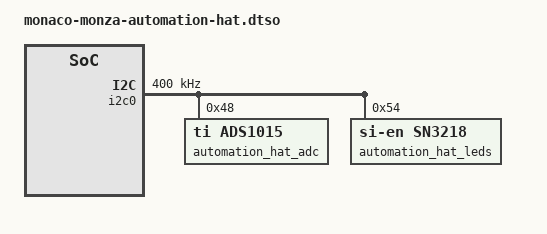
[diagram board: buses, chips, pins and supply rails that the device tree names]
// SPDX-License-Identifier: BSD-3-Clause
/*
 * Copyright (c) Qualcomm Technologies, Inc. and/or its subsidiaries.
 *
 * Device tree overlay for the Pimoroni Automation HAT connected to the
 * Monza 40-pin JHAT connector.
 */

/dts-v1/;
/plugin/;

#include <dt-bindings/gpio/gpio.h>

&i2c0 {
	clock-frequency = <400000>;
	#address-cells = <1>;
	#size-cells = <0>;

	/* Pimoroni Automation HAT - ADS1015 ADC */
	automation_hat_adc: adc@48 {
		compatible = "ti,ads1015";
		reg = <0x48>;
		#address-cells = <1>;
		#size-cells = <0>;

		/* Analog Input 1 - AIN0 single-ended, 0-3.3V */
		channel@4 {
			reg = <4>;
			ti,gain = <1>;
		};

		/* Analog Input 2 - AIN1 single-ended, 0-3.3V */
		channel@5 {
			reg = <5>;
			ti,gain = <1>;
		};

		/* Analog Input 3 - AIN2 single-ended, 0-3.3V */
		channel@6 {
			reg = <6>;
			ti,gain = <1>;
		};
	};

	/*
	 * Pimoroni Automation HAT - SN3218 LED Driver
	 * TODO: Add LED nodes for Input (reg 13-15), Output (reg 4-6),
	 * Relay (reg 7-12) and Analog (reg 1-3) indicator LEDs once
	 * GPIO support is enabled for those functions.
	 */
	automation_hat_leds: led-controller@54 {
		compatible = "si-en,sn3218";
		reg = <0x54>;
		#address-cells = <1>;
		#size-cells = <0>;

		led@16 {
			reg = <16>;
			label = "automation-hat:red:warn";
		};

		led@17 {
			reg = <17>;
			label = "automation-hat:green:comms";
		};

		led@18 {
			reg = <18>;
			label = "automation-hat:blue:power";
		};
	};
};

